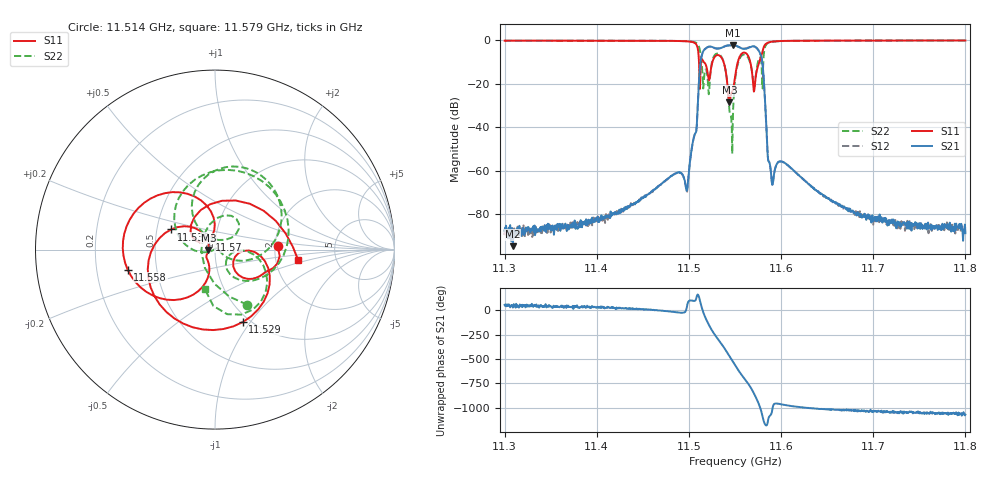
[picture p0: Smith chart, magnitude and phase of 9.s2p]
# Hz S DB R 50
! Planar, S50244, 24171007, 25.4.1/6
! Date: 15.10.2025 10:27:00
! Data: Format (Calibration Info)
! Freq	S11:dB/Ang(F2)	S21:dB/Ang(F2)	S12:dB/Ang(F2)	S22:dB/Ang(F2)
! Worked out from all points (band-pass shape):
!   1001 points, 11.3 GHz to 11.8 GHz, reference 50 ohm
!   highest |S21| = -2.45 dB at 11.547 GHz (marker M1); lowest = -94.7 dB at 11.309 GHz (marker M2)
!   |S21| within 3 dB of the highest: 11.515 GHz to 11.576 GHz (61.26 MHz wide, 0.531 % of centre)
!   lowest |S11| = -28.7 dB at 11.544 GHz (marker M3), VSWR 1.08, Z = 46.5 - j0.198 ohm
!   |S11| at or under -10 dB: 11.51589 GHz to 11.52556 GHz (9.664 MHz wide, 0.0839 % of centre); 11.53751 GHz to 11.55314 GHz (15.63 MHz wide, 0.135 % of centre); 11.5665 GHz to 11.57641 GHz (9.912 MHz wide, 0.0857 % of centre)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
!   |S22| runs from -52.3 to -0.2 dB; largest |S21 - S12| = 0.015
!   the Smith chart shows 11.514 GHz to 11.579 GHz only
!   S11 on the Smith chart (normalised r, x): 11.514 GHz: 2.07, +0.10; 11.529 GHz: 0.93, -0.92; 11.539 GHz: 0.59, +0.14; 11.558 GHz: 0.34, -0.10; 11.57 GHz: 0.93, +0.11; 11.579 GHz: 2.68, -0.42
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1.13e10  -0.32 145.0  -87.58 54.1  -89.58 47.0  -0.31 143.3
1.1309e10  -0.32 143.3  -94.73 27.3  -88.60 57.6  -0.31 141.7
1.13835e10  -0.33 126.5  -84.46 31.2  -83.26 29.9  -0.32 126.5
1.1467e10  -0.37 87.6  -67.14 -1.5  -67.28 -2.6  -0.34 94.8
1.1498e10  -0.62 36.4  -68.95 45.3  -69.73 44.5  -0.54 57.5
1.15085e10  -2.45 -30.0  -39.54 141.3  -39.56 142.2  -1.48 12.5
1.15135e10  -9.14 3.5  -7.88 41.9  -7.92 41.2  -8.97 -59.6
1.15195e10  -13.18 -45.3  -3.47 -109.2  -3.51 -108.9  -15.10 41.0
1.15235e10  -14.46 -1.5  -3.01 178.0  -3.11 178.0  -14.38 125.6
1.1529e10  -7.28 -69.1  -3.81 96.5  -3.89 97.8  -6.50 78.1
1.15385e10  -11.40 155.4  -3.00 -28.5  -2.89 -28.7  -11.39 -4.4
1.1544e10  -28.72 -176.7  -2.48 -110.8  -2.49 -111.0  -32.58 -7.1
1.15475e10  -23.11 -128.3  -2.45 -163.4  -2.48 -163.4  -39.00 -161.2
1.155e10  -17.11 -104.1  -2.52 158.8  -2.57 158.9  -18.82 -177.6
1.1558e10  -6.03 -167.0  -3.95 47.6  -3.87 48.5  -6.94 80.9
1.1564e10  -7.12 136.7  -3.71 -27.6  -3.54 -28.0  -7.98 1.9
1.15705e10  -23.71 120.5  -2.93 -130.2  -2.94 -130.5  -21.22 -43.6
1.1579e10  -6.59 -7.5  -8.40 28.3  -8.57 27.9  -12.93 -104.8
1.15895e10  -0.82 -124.6  -63.08 20.5  -63.04 21.2  -0.91 -110.2
1.16335e10  -0.31 162.6  -67.57 76.1  -67.45 75.5  -0.31 164.7
1.1717e10  -0.25 130.4  -85.01 35.3  -82.83 37.2  -0.24 129.8
1.18e10  -0.22 112.8  -88.78 11.9  -86.16 26.4  -0.21 112.3
